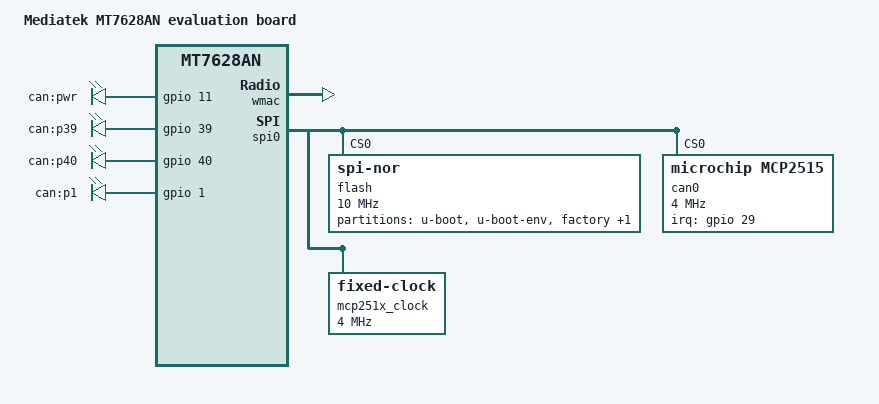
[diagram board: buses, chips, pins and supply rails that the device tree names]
/dts-v1/;

#include "mt7628an.dtsi"

#include <dt-bindings/gpio/gpio.h>
#include <dt-bindings/input/input.h>

/ {
	compatible = "mediatek,mt7628an-eval-board", "mediatek,mt7628an-soc";
	model = "Mediatek MT7628AN evaluation board";
	
	leds {
			compatible = "gpio-leds";

			can-pwr {
				label = "can:pwr";
				gpios = <&gpio 11 GPIO_ACTIVE_HIGH>;
			};
			can-p39 {
				label = "can:p39";
				gpios = <&gpio 39 GPIO_ACTIVE_HIGH>;
			};
			can-p40 {
				label = "can:p40";
				gpios = <&gpio 40 GPIO_ACTIVE_HIGH>;
			};
			can-p1 {
				label = "can:p1";
				gpios = <&gpio 1 GPIO_ACTIVE_HIGH>;
			};
	};
};

&state_default {
	gpio {
		groups = "i2c","i2s";
		function = "gpio";
	};
};


&wmac {
	status = "okay";
};

&spi0 {
	status = "okay";

	flash@0 {
		compatible = "jedec,spi-nor";
		reg = <0>;
		spi-max-frequency = <10000000>;

		partitions {
			compatible = "fixed-partitions";
			#address-cells = <1>;
			#size-cells = <1>;

			partition@0 {
				label = "u-boot";
				reg = <0x0 0x30000>;
				read-only;
			};

			partition@30000 {
				label = "u-boot-env";
				reg = <0x30000 0x10000>;
				read-only;
			};

			factory: partition@40000 {
				label = "factory";
				reg = <0x40000 0x10000>;
				read-only;
			};

			partition@50000 {
				compatible = "denx,uimage";
				label = "firmware";
				reg = <0x50000 0x7b0000>;
			};
		};
	};
	
	can0:can@1{
		compatible = "microchip,mcp2515";
		reg = <0>;
		linux,modalias = "mcp2510","mcp2515";
		use-default-sizes;
		spi-max-frequency = <4000000>;
		clocks = <&mcp251x_clock>;
		interrupt-parent = <&gpio>;
		interrupts = <29 0x02>;
	};
	
	mcp251x_clock:mcp2515{
		compatible = "fixed-clock";
		clock-frequency = <4000000>;
	};
};


&wmac {
	status = "okay";
};

